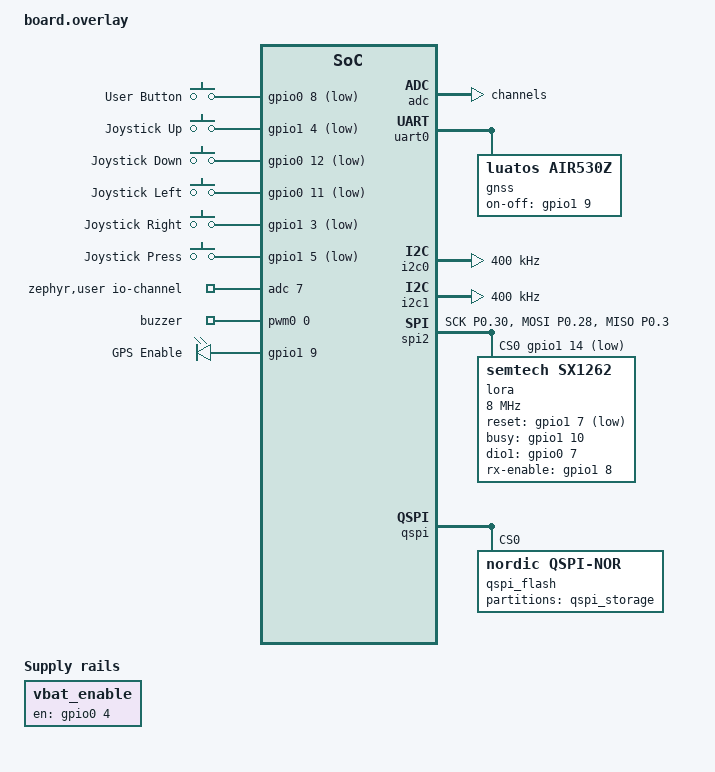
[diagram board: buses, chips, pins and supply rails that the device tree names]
/*
 * Wio Tracker L1 overlay for ZephCore, on top of upstream Zephyr's
 * boards/seeed/wio_tracker_l1 (in-tree since Zephyr 4.5; we carried a full
 * custom board of the same name before that, and the two cannot coexist).
 *
 * Everything below reproduces the devicetree of that custom board, so an
 * update does not move anything a deployed node depends on.  The ones that
 * are not cosmetic:
 *
 *   - Flash layout: our SoftDevice v7 map (nrf52_partitions_sdv7.dtsi).
 *     Upstream's uf2_sdv7 map puts storage at 0xEC000; our /lfs volume
 *     (identity, prefs, contacts) lives at 0xD4000 and must not move.
 *   - LoRa on SPIM2, not SPIM3: see the &spi2 note.
 *   - Grove I2C (&i2c1): SDA=P1.12, SCL=P1.11.  Upstream has them swapped.
 *   - QSPI P25Q16H in single-bit mode at 16 MHz with a 50 ms DPD exit,
 *     matching Arduino.  Upstream runs it quad at 104 MHz.
 *   - OLED bus needs zephyr,concat-buf-size or the SH1106 ACKs init and never
 *     renders (nordic,nrf-twim).
 *   - GPS on the luatos,air530z driver (PCAS/CASIC command set) with P1.09
 *     as its standby pin, not gnss-nmea-generic.
 *   - Battery: our on-demand regulator on P0.04 + zephyr,user io-channels.
 *     Upstream's voltage-divider node also drives P0.04, so it must go.
 *   - UICR: nfct-pins-as-gpios, and no gpio-as-nreset (the UF2 bootloader
 *     owns PSELRESET).
 *
 * Console: USB CDC ACM (upstream's board_cdc_acm_uart).
 */

#include <zephyr/dt-bindings/input/input-event-codes.h>

/* ---- Nodes replaced wholesale ---------------------------------------- */

/delete-node/ &{/buttons};
/delete-node/ &{/trackball};
/delete-node/ &vbatt;
/delete-node/ &buzzer;
/delete-node/ &gnss;
/delete-node/ &lora;
/delete-node/ &p25q16h;

&flash0 {
	/delete-node/ partitions;
};

/ {
	chosen {
		zephyr,display = &sh1106;
	};

	buttons: buttons {
		compatible = "gpio-keys";

		user_button: button_0 {
			gpios = <&gpio0 8 (GPIO_PULL_UP | GPIO_ACTIVE_LOW)>;
			zephyr,code = <INPUT_KEY_0>;
			label = "User Button";
		};

		joystick_up: button_1 {
			gpios = <&gpio1 4 (GPIO_PULL_UP | GPIO_ACTIVE_LOW)>;
			zephyr,code = <INPUT_KEY_UP>;
			label = "Joystick Up";
		};

		joystick_down: button_2 {
			gpios = <&gpio0 12 (GPIO_PULL_UP | GPIO_ACTIVE_LOW)>;
			zephyr,code = <INPUT_KEY_DOWN>;
			label = "Joystick Down";
		};

		joystick_left: button_3 {
			gpios = <&gpio0 11 (GPIO_PULL_UP | GPIO_ACTIVE_LOW)>;
			zephyr,code = <INPUT_KEY_LEFT>;
			label = "Joystick Left";
		};

		joystick_right: button_4 {
			gpios = <&gpio1 3 (GPIO_PULL_UP | GPIO_ACTIVE_LOW)>;
			zephyr,code = <INPUT_KEY_RIGHT>;
			label = "Joystick Right";
		};

		joystick_press: button_5 {
			gpios = <&gpio1 5 (GPIO_PULL_UP | GPIO_ACTIVE_LOW)>;
			zephyr,code = <INPUT_KEY_ENTER>;
			label = "Joystick Press";
		};
	};

	/* Input filter: user button long-press detection (1000ms) */
	user_btn_longpress {
		compatible = "zephyr,input-longpress";
		input = <&buttons>;
		input-codes = <INPUT_KEY_0>;
		short-codes = <INPUT_KEY_A>;
		long-codes = <INPUT_KEY_POWER>;
		long-delay-ms = <1000>;
	};

	/* Input filter: user button multi-tap detection
	 * 1 tap  (400ms wait) -> KEY_1 = page next on OLED
	 * 2 taps (400ms wait) -> KEY_B = LED heartbeat toggle
	 * 3 taps (400ms wait) -> KEY_D = buzzer mute toggle
	 * 4 taps (400ms wait) -> KEY_C = GPS on/off
	 * 5 taps (immediate)  -> KEY_E = flood advert */
	user_btn_multitap {
		compatible = "zephcore,input-multi-tap";
		/* No 'input' phandle -- listen to ALL devices.
		 * KEY_A is emitted by the longpress pseudo-device,
		 * not by &buttons, so we must not filter by device. */
		input-codes = <INPUT_KEY_A>;
		tap-codes = <INPUT_KEY_1 INPUT_KEY_B INPUT_KEY_D INPUT_KEY_C INPUT_KEY_E>;
		tap-delay-ms = <400>;
	};

	/* Battery voltage enable and ADC - on-demand only to save power */
	vbat_enable: vbat-enable {
		compatible = "regulator-fixed";
		regulator-name = "vbat-enable";
		enable-gpios = <&gpio0 4 GPIO_ACTIVE_HIGH>;
		/* NOT regulator-boot-on - enabled on-demand in ZephyrBoard.cpp */
	};

	/* Battery ADC channel reference for ZephyrBoard */
	zephyr,user {
		io-channels = <&adc 7>;
		vbat-mv-multiplier = <7236>;  /* 2:1 divider, 3.6V ref; +0.5% for nRF SAADC gain error */
	};

	/* Buzzer on PWM0 channel 0 (P1.00) - no enable pin needed */
	pwmbuzzer {
		compatible = "pwm-leds";
		buzzer: buzzer {
			pwms = <&pwm0 0 PWM_MSEC(20) PWM_POLARITY_NORMAL>;
		};
	};

	aliases {
		/delete-property/ buzzer0;
		/delete-property/ gnss;
		sw0 = &user_button;
		buzzer = &buzzer;
	};
};

/* GPS standby control -- P1.09 = the L76K's WAKEUP pin (schematic net
 * GNSS_WAKEUP). This is NOT a supply switch: per the L76K hardware design the
 * pin only enters/exits Standby, where the RF is off but the core and I/O
 * domain stay powered. VCC is never removed, so ephemeris/almanac/RTC are
 * retained and each wake is a warm start. Active low with an internal
 * pull-up, which is why the module runs even with this pin unconfigured.
 *
 * The luatos,air530z driver also manages this pin via on-off-gpios, but we
 * need our own alias so ZephyrSensorManager can toggle it independently
 * (driver PM suspend/resume hangs on modem_pipe ops). */
/ {
	gps_en: gps-enable {
		compatible = "gpio-leds";
		gps_enable_pin: gps_enable {
			gpios = <&gpio1 9 GPIO_ACTIVE_HIGH>;
			label = "GPS Enable";
		};
	};

	aliases {
		gps-enable = &gps_enable_pin;
	};
};

/* ---- Pin control ------------------------------------------------------ */

&pinctrl {
	/* SPI2 (SPIM2) for LoRa SX1262: SCK=P0.30, MOSI=P0.28, MISO=P0.03 */
	spi2_default: spi2_default {
		group1 {
			psels = <NRF_PSEL(SPIM_SCK, 0, 30)>,
				<NRF_PSEL(SPIM_MOSI, 0, 28)>,
				<NRF_PSEL(SPIM_MISO, 0, 3)>;
		};
	};

	spi2_sleep: spi2_sleep {
		group1 {
			psels = <NRF_PSEL(SPIM_SCK, 0, 30)>,
				<NRF_PSEL(SPIM_MOSI, 0, 28)>,
				<NRF_PSEL(SPIM_MISO, 0, 3)>;
			low-power-enable;
		};
	};
};

/* Grove I2C: SDA=P1.12 (D18), SCL=P1.11 (D17), the physical Grove pinout
 * (Arduino Wire1 / Meshtastic).  Upstream has the two swapped. */
&i2c1_default {
	group1 {
		psels = <NRF_PSEL(TWIM_SDA, 1, 12)>,
			<NRF_PSEL(TWIM_SCL, 1, 11)>;
	};
};

&i2c1_sleep {
	group1 {
		psels = <NRF_PSEL(TWIM_SDA, 1, 12)>,
			<NRF_PSEL(TWIM_SCL, 1, 11)>;
	};
};

/* GPS UART: pull-up on both lines, as before. */
&uart0_default {
	/delete-node/ group2;

	group1 {
		psels = <NRF_PSEL(UART_TX, 0, 27)>,
			<NRF_PSEL(UART_RX, 0, 26)>;
		bias-pull-up;
	};
};

/* QSPI sleep: upstream's state as it is, CS# in its own group with a pull-up.
 * The flash is in deep power-down in this state, and a floating CS# reads low
 * (the part sits selected). */

/* ---- Peripherals ------------------------------------------------------ */

&uicr {
	/delete-property/ gpio-as-nreset;
	nfct-pins-as-gpios;
};

&adc {
	/* Battery voltage on P0.31 (AIN7) */
	channel@7 {
		/delete-property/ zephyr,vref-mv;
		zephyr,acquisition-time = <ADC_ACQ_TIME(ADC_ACQ_TIME_MICROSECONDS, 10)>;
	};
};

/* Quectel L76KB GNSS on UART0 - 9600 baud (PCAS/CASIC protocol)
 * Uses Zephyr luatos,air530z driver (same PCAS command set for
 * constellation config via PCAS04, fix rate via PCAS02, etc.)
 * on-off-gpios = P1.09, the module's WAKEUP/standby pin (see the
 * gps-enable note above) -- driver drives it high for Continuous, low for
 * Standby. */
&uart0 {
	gnss: gnss {
		compatible = "luatos,air530z";
		on-off-gpios = <&gpio1 9 GPIO_ACTIVE_HIGH>;
	};
};

/* I2C0 for onboard OLED display only.
 * External environment/power sensors live on the Grove bus (&i2c1). */
&i2c0 {
	clock-frequency = <I2C_BITRATE_FAST>;
	/* SH1106 sends 1 cmd + 128 data = 129 bytes per page write.
	 * nRF TWIM needs an internal buffer >= this size. */
	zephyr,concat-buf-size = <256>;
	zephyr,flash-buf-max-size = <256>;
};

sh1106: &oled {
};

/* I2C1 for Grove connector -- external environment/power sensors.
 * Auto-detected at runtime; absent sensors fail device_is_ready() and
 * are skipped harmlessly by ZephyrEnvSensors. */
&i2c1 {
	clock-frequency = <I2C_BITRATE_FAST>;

	/* All supported environment & power sensors -- auto-detected at runtime */
	#include "../../common/sensors-i2c.dtsi"
};

/* SPIM3 is where upstream puts the radio; it is unused here. */
&spi3 {
	status = "disabled";
};

/* SPI2 (SPIM2) for LoRa SX1262.
 * Must NOT use SPIM0 (shares instance 0 with I2C0/OLED) or SPIM1 (shares
 * instance 1 with TWIM1, which drives the Grove I2C bus &i2c1). SPIM2 is a
 * dedicated SPI-only instance, so the radio and both I2C buses coexist. */
&spi2 {
	compatible = "nordic,nrf-spim";
	status = "okay";
	cs-gpios = <&gpio1 14 GPIO_ACTIVE_LOW>;
	pinctrl-0 = <&spi2_default>;
	pinctrl-1 = <&spi2_sleep>;
	pinctrl-names = "default", "sleep";

	lora: lora@0 {
		compatible = "semtech,sx1262";
		reg = <0>;
		reset-gpios = <&gpio1 7 GPIO_ACTIVE_LOW>;
		busy-gpios = <&gpio1 10 GPIO_ACTIVE_HIGH>;
		dio1-gpios = <&gpio0 7 (GPIO_PULL_DOWN | GPIO_ACTIVE_HIGH)>;
		/* RXEN on P1.08, DIO2 as RF switch for TX */
		rx-enable-gpios = <&gpio1 8 GPIO_ACTIVE_HIGH>;
		dio2-tx-enable;
		dio3-tcxo-voltage = <SX126X_DIO3_TCXO_1V8>;
		tcxo-power-startup-delay-ms = <5>;
		spi-max-frequency = <8000000>;
		rx-boosted;
	};
};

/* QSPI Flash - P25Q16H 2MB - single-bit mode at 16MHz (matches Arduino) */
&qspi {
	qspi_flash: qspi_flash@0 {
		compatible = "nordic,qspi-nor";
		reg = <0>;
		writeoc = "pp";           /* Single-bit page program (universal) */
		readoc = "fastread";      /* Single-bit fast read (universal) */
		sck-frequency = <16000000>; /* 16 MHz (matches Arduino) */
		jedec-id = [85 60 15];    /* P25Q16H */
		sfdp-bfp = [
			e5 20 f1 ff  ff ff ff 01  44 eb 08 6b  08 3b 04 bb
			ee ff ff ff  ff ff 00 ff  ff ff 00 ff  0c 20 0f 52
			10 d8 00 ff
		];
		size = <16777216>;        /* 2MB = 16Mbit */
		has-dpd;
		t-enter-dpd = <3000>;
		/* quad-enable not needed for single-bit mode */

		partitions {
			compatible = "fixed-partitions";
			#address-cells = <1>;
			#size-cells = <1>;

			/* Full 2MB for LittleFS storage */
			qspi_storage_partition: partition@0 {
				label = "qspi_storage";
				reg = <0x00000000 0x00200000>;
			};
		};
	};
};

/* Arduino MeshCore compatible partition layout (SoftDevice v7) */
#include "../../common/nrf52_partitions_sdv7.dtsi"
#include "../../common/nrf52_wakeup.dtsi"

/* Internal LFS mounted manually by ZephyrDataStore (block_size=128, custom erase) */
/* External QSPI /ext auto-mounted via DTS (standard 4KB blocks) */
#include "../../common/qspi-ext.dtsi"
